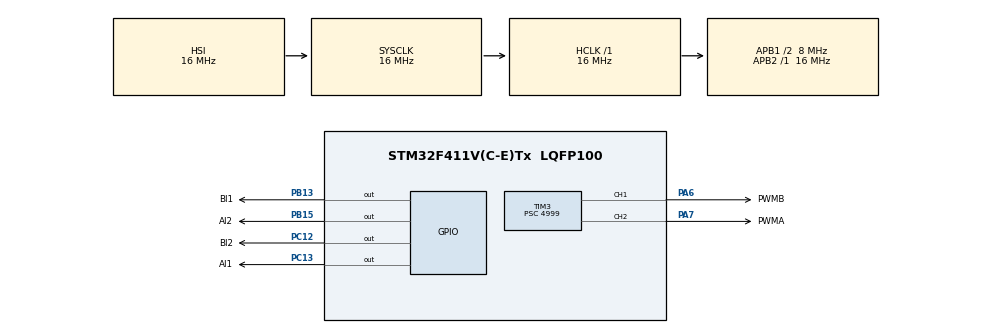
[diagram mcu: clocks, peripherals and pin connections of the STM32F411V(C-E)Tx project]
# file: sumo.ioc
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Mcu.Family=STM32F4
RCC.CortexFreq_Value=16000000
TIM3.AutoReloadPreload=TIM_AUTORELOAD_PRELOAD_ENABLE
PC13-ANTI_TAMP.GPIO_Label=AI1
PC12.Signal=GPIO_Output
PA6.GPIO_Label=PWMB
RCC.APB1CLKDivider=RCC_HCLK_DIV2
PB13.GPIO_Label=BI1
PB15.Signal=GPIO_Output
PB13.Signal=GPIO_Output
ProjectManager.StackSize=0x400
ProjectManager.TargetToolchain=STM32CubeIDE
RCC.HCLKFreq_Value=16000000
RCC.APB2TimFreq_Value=16000000
TIM3.Period=99
RCC.AHBFreq_Value=16000000
TIM3.Channel-PWM\ Generation1\ CH1=TIM_CHANNEL_1
SH.S_TIM3_CH2.0=TIM3_CH2,PWM Generation2 CH2
RCC.HSE_VALUE=8000000
board=custom
PC13-ANTI_TAMP.Signal=GPIO_Output
RCC.VCOOutputFreq_Value=200000000
RCC.APB2Freq_Value=16000000
PB15.GPIO_Label=AI2
TIM3.Prescaler=4999
SH.S_TIM3_CH1.0=TIM3_CH1,PWM Generation1 CH1
Mcu.Name=STM32F411V(C-E)Tx
RCC.48MHZClocksFreq_Value=50000000
RCC.SYSCLKFreq_VALUE=16000000
Mcu.Package=LQFP100
PA6.Signal=S_TIM3_CH1
PA7.GPIO_Label=PWMA
PC12.GPIO_Label=BI2
ProjectManager.HeapSize=0x200
RCC.HSI_VALUE=16000000
NVIC.PriorityGroup=NVIC_PRIORITYGROUP_4
TIM3.Channel-PWM\ Generation2\ CH2=TIM_CHANNEL_2
RCC.PLLM=8
RCC.PLLN=100
RCC.APB1TimFreq_Value=16000000
RCC.APB1Freq_Value=8000000
VP_TIM3_VS_ClockSourceINT.Mode=Internal
PA7.Signal=S_TIM3_CH2

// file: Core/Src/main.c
/* USER CODE BEGIN Header */
/**
  ******************************************************************************
  * @file           : main.c
  * @brief          : Main program body
  ******************************************************************************
  * @attention
  *
  * <h2><center>&copy; Copyright (c) 2021 STMicroelectronics.
  * All rights reserved.</center></h2>
  *
  * This software component is licensed by ST under BSD 3-Clause license,
  * the "License"; You may not use this file except in compliance with the
  * License. You may obtain a copy of the License at:
  *                        opensource.org/licenses/BSD-3-Clause
  *
  ******************************************************************************
  */
/* USER CODE END Header */
#include "main.h"
#include "tim.h"
#include "gpio.h"

void SystemClock_Config(void);
/* USER CODE BEGIN PFP */
void RotateCW_A();
void RotateCCW_A();
void RotateCW_B();
void RotateCCW_B();
void custom_main();
/* USER CODE END PFP */

int main(void)
{
  /* USER CODE BEGIN 1 */
int32_t PWM_1 = 75;
int32_t PWM_2 = 75;
  /* USER CODE END 1 */

  /* MCU Configuration--------------------------------------------------------*/

  /* Reset of all peripherals, Initializes the Flash interface and the Systick. */
  HAL_Init();

  /* Configure the system clock */
  SystemClock_Config();

  /* Initialize all configured peripherals */
  MX_GPIO_Init();
  MX_TIM3_Init();
  /* USER CODE BEGIN 2 */
  custom_main();
  /* USER CODE END 2 */

  /* Infinite loop */
  while (1)
  {

  }
}

void SystemClock_Config(void)
{
  RCC_OscInitTypeDef RCC_OscInitStruct = {0};
  RCC_ClkInitTypeDef RCC_ClkInitStruct = {0};

  /** Configure the main internal regulator output voltage
  */
  __HAL_RCC_PWR_CLK_ENABLE();
  __HAL_PWR_VOLTAGESCALING_CONFIG(PWR_REGULATOR_VOLTAGE_SCALE1);
  /** Initializes the RCC Oscillators according to the specified parameters
  * in the RCC_OscInitTypeDef structure.
  */
  RCC_OscInitStruct.OscillatorType = RCC_OSCILLATORTYPE_HSI;
  RCC_OscInitStruct.HSIState = RCC_HSI_ON;
  RCC_OscInitStruct.HSICalibrationValue = RCC_HSICALIBRATION_DEFAULT;
  RCC_OscInitStruct.PLL.PLLState = RCC_PLL_NONE;
  if (HAL_RCC_OscConfig(&RCC_OscInitStruct) != HAL_OK)
  {
    Error_Handler();
  }
  /** Initializes the CPU, AHB and APB buses clocks
  */
  RCC_ClkInitStruct.ClockType = RCC_CLOCKTYPE_HCLK|RCC_CLOCKTYPE_SYSCLK
                              |RCC_CLOCKTYPE_PCLK1|RCC_CLOCKTYPE_PCLK2;
  RCC_ClkInitStruct.SYSCLKSource = RCC_SYSCLKSOURCE_HSI;
  RCC_ClkInitStruct.AHBCLKDivider = RCC_SYSCLK_DIV1;
  RCC_ClkInitStruct.APB1CLKDivider = RCC_HCLK_DIV2;
  RCC_ClkInitStruct.APB2CLKDivider = RCC_HCLK_DIV1;

  if (HAL_RCC_ClockConfig(&RCC_ClkInitStruct, FLASH_LATENCY_0) != HAL_OK)
  {
    Error_Handler();
  }
}

/* USER CODE BEGIN 4 */
void RotateCW_A(){
    HAL_GPIO_WritePin(AI1_GPIO_Port, AI1_Pin, GPIO_PIN_SET);
    HAL_GPIO_WritePin(AI2_GPIO_Port, AI2_Pin, GPIO_PIN_RESET);
}
void RotateCW_B(){
    HAL_GPIO_WritePin(BI1_GPIO_Port, BI1_Pin, GPIO_PIN_SET);
    HAL_GPIO_WritePin(BI2_GPIO_Port, BI2_Pin, GPIO_PIN_RESET);
}
void RotateCCW_A(){
    HAL_GPIO_WritePin(AI1_GPIO_Port, AI1_Pin, GPIO_PIN_RESET);
    HAL_GPIO_WritePin(AI2_GPIO_Port, AI2_Pin, GPIO_PIN_SET);
}
void RotateCCW_B(){
    HAL_GPIO_WritePin(BI1_GPIO_Port, BI1_Pin, GPIO_PIN_RESET);
    HAL_GPIO_WritePin(BI2_GPIO_Port, BI2_Pin, GPIO_PIN_SET);
}
/* USER CODE END 4 */

void Error_Handler(void)
{
  __disable_irq();
  while (1)
  {
  }
}

/************************ (C) COPYRIGHT STMicroelectronics *****END OF FILE****/
